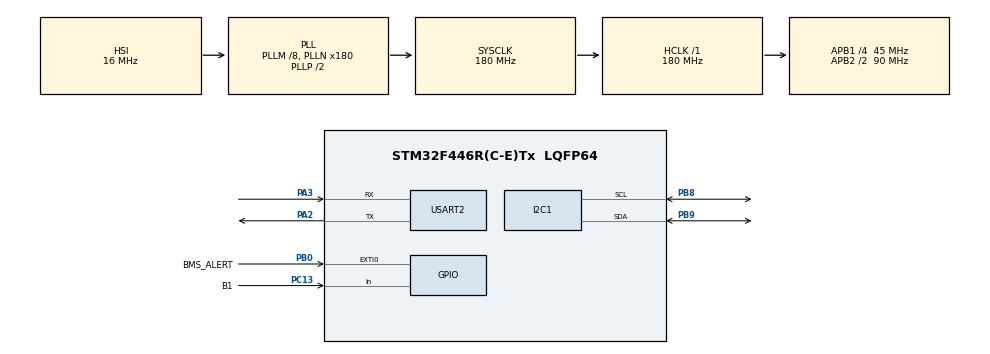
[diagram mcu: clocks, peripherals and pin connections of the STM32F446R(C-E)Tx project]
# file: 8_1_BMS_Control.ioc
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Mcu.Family=STM32F4
Mcu.Name=STM32F446R(C-E)Tx
Mcu.Package=LQFP64
NVIC.EXTI0_IRQn=true\:0\:0\:false\:false\:true\:true\:true\:true
NVIC.PriorityGroup=NVIC_PRIORITYGROUP_4
PA2.Mode=Asynchronous
PA2.Signal=USART2_TX
PA3.Mode=Asynchronous
PA3.Signal=USART2_RX
PB0.GPIO_Label=BMS_ALERT
PB0.GPIO_PuPd=GPIO_PULLDOWN
PB0.Signal=GPXTI0
PB8.Mode=I2C
PB8.Signal=I2C1_SCL
PB9.Mode=I2C
PB9.Signal=I2C1_SDA
PC13.GPIO_Label=B1
PC13.Signal=GPIO_Input
ProjectManager.HeapSize=0x200
ProjectManager.StackSize=0x400
ProjectManager.TargetToolchain=STM32CubeIDE
RCC.AHBFreq_Value=180000000
RCC.APB1CLKDivider=RCC_HCLK_DIV4
RCC.APB1Freq_Value=45000000
RCC.APB1TimFreq_Value=90000000
RCC.APB2CLKDivider=RCC_HCLK_DIV2
RCC.APB2Freq_Value=90000000
RCC.APB2TimFreq_Value=180000000
RCC.CortexFreq_Value=180000000
RCC.HCLKFreq_Value=180000000
RCC.PLLM=8
RCC.PLLN=180
RCC.SYSCLKFreq_VALUE=180000000
RCC.SYSCLKSource=RCC_SYSCLKSOURCE_PLLCLK
RCC.USBFreq_Value=180000000
RCC.VCOOutputFreq_Value=360000000
USART2.VirtualMode=VM_ASYNC
board=custom

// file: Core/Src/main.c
/* USER CODE BEGIN Header */
/**
  ******************************************************************************
  * @file           : main.c
  * @brief          : Main program body
  ******************************************************************************
  * @attention
  *
  * Copyright (c) 2026 STMicroelectronics.
  * All rights reserved.
  *
  * This software is licensed under terms that can be found in the LICENSE file
  * in the root directory of this software component.
  * If no LICENSE file comes with this software, it is provided AS-IS.
  *
  ******************************************************************************
  */
/* USER CODE END Header */
#include "main.h"

/* USER CODE BEGIN Includes */
#include <stdio.h>
#include "bq76920.h"
/* USER CODE END Includes */

I2C_HandleTypeDef hi2c1;

UART_HandleTypeDef huart2;

/* USER CODE BEGIN PV */
char buf[96];
uint16_t cell_mv[BQ76920_NUM_CELLS];
/* USER CODE END PV */

void SystemClock_Config(void);
static void MX_GPIO_Init(void);
static void MX_I2C1_Init(void);
static void MX_USART2_UART_Init(void);

int main(void)
{

  /* MCU Configuration--------------------------------------------------------*/

  /* Reset of all peripherals, Initializes the Flash interface and the Systick. */
  HAL_Init();

  /* Configure the system clock */
  SystemClock_Config();

  /* Initialize all configured peripherals */
  MX_GPIO_Init();
  MX_I2C1_Init();
  MX_USART2_UART_Init();
  /* USER CODE BEGIN 2 */
  {
    /* idle state of the bus before any I2C transfer */
    int p = snprintf(buf, sizeof(buf), "idle: SCL=%d SDA=%d\r\n",
                     HAL_GPIO_ReadPin(GPIOB, GPIO_PIN_8), HAL_GPIO_ReadPin(GPIOB, GPIO_PIN_9));
    HAL_UART_Transmit(&huart2, (uint8_t *)buf, p, HAL_MAX_DELAY);
  }
  if (BQ76920_Init(&hi2c1) == HAL_OK)
  {
    uint8_t cfg = 0;
    BQ76920_ReadReg(0x0B, &cfg);                  /* CC_CFG must read back 0x19 */
    int n = snprintf(buf, sizeof(buf), "BMS OK, CC_CFG=0x%02X\r\n", cfg);
    HAL_UART_Transmit(&huart2, (uint8_t *)buf, n, HAL_MAX_DELAY);
  }
  else
  {
    /* Init failed: scan the bus to see which addresses answer */
    HAL_UART_Transmit(&huart2, (uint8_t *)"BMS init failed, scanning I2C:\r\n", 32, HAL_MAX_DELAY);

    /* Diagnosis: what does the bus do when we call address 0x08? */
    HAL_StatusTypeDef st = HAL_I2C_IsDeviceReady(&hi2c1, 0x08 << 1, 1, 20);
    int d = snprintf(buf, sizeof(buf),
                     "0x08: status=%d, I2C error=0x%02lX, SCL pin=%d, SDA pin=%d\r\n",
                     (int)st, (unsigned long)hi2c1.ErrorCode,
                     HAL_GPIO_ReadPin(GPIOB, GPIO_PIN_8), HAL_GPIO_ReadPin(GPIOB, GPIO_PIN_9));
    HAL_UART_Transmit(&huart2, (uint8_t *)buf, d, HAL_MAX_DELAY);
    for (uint8_t a = 1; a < 128; a++)
    {
      if (HAL_I2C_IsDeviceReady(&hi2c1, a << 1, 1, 5) == HAL_OK)
      {
        int n = snprintf(buf, sizeof(buf), "found 0x%02X\r\n", a);
        HAL_UART_Transmit(&huart2, (uint8_t *)buf, n, HAL_MAX_DELAY);
      }
    }
  }
  /* USER CODE END 2 */

  /* Infinite loop */
  while (1)
  {

    /* USER CODE BEGIN 3 */
    if (BQ76920_ReadCells(cell_mv) == HAL_OK)
    {
      /* line 1: all five raw inputs */
      int n = snprintf(buf, sizeof(buf),
                       "VC1=%u VC2=%u VC3=%u VC4=%u VC5=%u mV\r\n",
                       cell_mv[0], cell_mv[1], cell_mv[2], cell_mv[3], cell_mv[4]);
      HAL_UART_Transmit(&huart2, (uint8_t *)buf, n, HAL_MAX_DELAY);

      /* line 2: 3S pack uses inputs VC1, VC2 and VC5; VC3 and VC4 are shorted (unused) */
      n = snprintf(buf, sizeof(buf),
                   "Cell1=%u Cell2=%u Cell3=%u Pack=%u mV (unused: %u %u)\r\n",
                   cell_mv[0], cell_mv[1], cell_mv[4],
                   cell_mv[0] + cell_mv[1] + cell_mv[4],
                   cell_mv[2], cell_mv[3]);
      HAL_UART_Transmit(&huart2, (uint8_t *)buf, n, HAL_MAX_DELAY);
    }
    HAL_Delay(1000);
  }
  /* USER CODE END 3 */
}

void SystemClock_Config(void)
{
  RCC_OscInitTypeDef RCC_OscInitStruct = {0};
  RCC_ClkInitTypeDef RCC_ClkInitStruct = {0};

  /** Configure the main internal regulator output voltage
  */
  __HAL_RCC_PWR_CLK_ENABLE();
  __HAL_PWR_VOLTAGESCALING_CONFIG(PWR_REGULATOR_VOLTAGE_SCALE1);

  /** Initializes the RCC Oscillators according to the specified parameters
  * in the RCC_OscInitTypeDef structure.
  */
  RCC_OscInitStruct.OscillatorType = RCC_OSCILLATORTYPE_HSI;
  RCC_OscInitStruct.HSIState = RCC_HSI_ON;
  RCC_OscInitStruct.HSICalibrationValue = RCC_HSICALIBRATION_DEFAULT;
  RCC_OscInitStruct.PLL.PLLState = RCC_PLL_ON;
  RCC_OscInitStruct.PLL.PLLSource = RCC_PLLSOURCE_HSI;
  RCC_OscInitStruct.PLL.PLLM = 8;
  RCC_OscInitStruct.PLL.PLLN = 180;
  RCC_OscInitStruct.PLL.PLLP = RCC_PLLP_DIV2;
  RCC_OscInitStruct.PLL.PLLQ = 2;
  RCC_OscInitStruct.PLL.PLLR = 2;
  if (HAL_RCC_OscConfig(&RCC_OscInitStruct) != HAL_OK)
  {
    Error_Handler();
  }

  /** Activate the Over-Drive mode
  */
  if (HAL_PWREx_EnableOverDrive() != HAL_OK)
  {
    Error_Handler();
  }

  /** Initializes the CPU, AHB and APB buses clocks
  */
  RCC_ClkInitStruct.ClockType = RCC_CLOCKTYPE_HCLK|RCC_CLOCKTYPE_SYSCLK
                              |RCC_CLOCKTYPE_PCLK1|RCC_CLOCKTYPE_PCLK2;
  RCC_ClkInitStruct.SYSCLKSource = RCC_SYSCLKSOURCE_PLLCLK;
  RCC_ClkInitStruct.AHBCLKDivider = RCC_SYSCLK_DIV1;
  RCC_ClkInitStruct.APB1CLKDivider = RCC_HCLK_DIV4;
  RCC_ClkInitStruct.APB2CLKDivider = RCC_HCLK_DIV2;

  if (HAL_RCC_ClockConfig(&RCC_ClkInitStruct, FLASH_LATENCY_5) != HAL_OK)
  {
    Error_Handler();
  }
}

static void MX_I2C1_Init(void)
{

  hi2c1.Instance = I2C1;
  hi2c1.Init.ClockSpeed = 100000;
  hi2c1.Init.DutyCycle = I2C_DUTYCYCLE_2;
  hi2c1.Init.OwnAddress1 = 0;
  hi2c1.Init.AddressingMode = I2C_ADDRESSINGMODE_7BIT;
  hi2c1.Init.DualAddressMode = I2C_DUALADDRESS_DISABLE;
  hi2c1.Init.OwnAddress2 = 0;
  hi2c1.Init.GeneralCallMode = I2C_GENERALCALL_DISABLE;
  hi2c1.Init.NoStretchMode = I2C_NOSTRETCH_DISABLE;
  if (HAL_I2C_Init(&hi2c1) != HAL_OK)
  {
    Error_Handler();
  }

}

static void MX_USART2_UART_Init(void)
{

  huart2.Instance = USART2;
  huart2.Init.BaudRate = 115200;
  huart2.Init.WordLength = UART_WORDLENGTH_8B;
  huart2.Init.StopBits = UART_STOPBITS_1;
  huart2.Init.Parity = UART_PARITY_NONE;
  huart2.Init.Mode = UART_MODE_TX_RX;
  huart2.Init.HwFlowCtl = UART_HWCONTROL_NONE;
  huart2.Init.OverSampling = UART_OVERSAMPLING_16;
  if (HAL_UART_Init(&huart2) != HAL_OK)
  {
    Error_Handler();
  }

}

static void MX_GPIO_Init(void)
{
  GPIO_InitTypeDef GPIO_InitStruct = {0};

  /* GPIO Ports Clock Enable */
  __HAL_RCC_GPIOC_CLK_ENABLE();
  __HAL_RCC_GPIOA_CLK_ENABLE();
  __HAL_RCC_GPIOB_CLK_ENABLE();

  /*Configure GPIO pin : B1_Pin */
  GPIO_InitStruct.Pin = B1_Pin;
  GPIO_InitStruct.Mode = GPIO_MODE_INPUT;
  GPIO_InitStruct.Pull = GPIO_NOPULL;
  HAL_GPIO_Init(B1_GPIO_Port, &GPIO_InitStruct);

  /*Configure GPIO pin : BMS_ALERT_Pin */
  GPIO_InitStruct.Pin = BMS_ALERT_Pin;
  GPIO_InitStruct.Mode = GPIO_MODE_IT_RISING;
  GPIO_InitStruct.Pull = GPIO_PULLDOWN;
  HAL_GPIO_Init(BMS_ALERT_GPIO_Port, &GPIO_InitStruct);

  /* EXTI interrupt init*/
  HAL_NVIC_SetPriority(EXTI0_IRQn, 0, 0);
  HAL_NVIC_EnableIRQ(EXTI0_IRQn);

}

void Error_Handler(void)
{
  __disable_irq();
  while (1)
  {
  }
}
